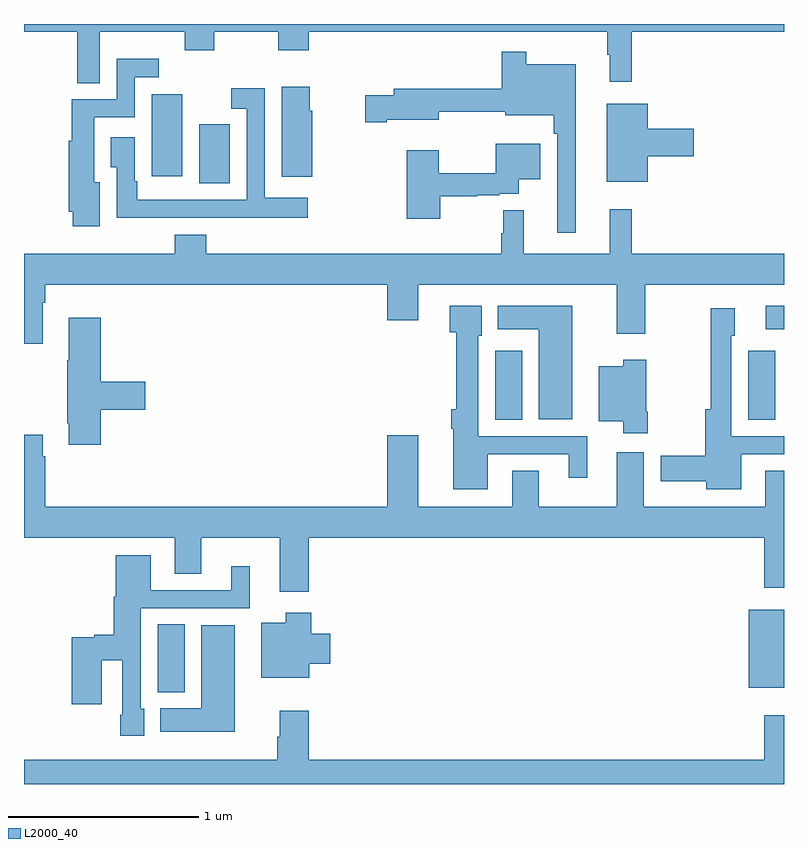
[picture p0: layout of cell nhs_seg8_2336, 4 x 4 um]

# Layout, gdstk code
import gdstk
lib = gdstk.Library(unit=1e-6, precision=1e-09)
def R(c, l, rs):  # rectangles x0, y0, x1, y1
    for r in rs: c.add(gdstk.rectangle(r[:2], r[2:], *l))
def P(c, l, *ps):  # polygons
    for p in ps: c.add(gdstk.Polygon(p, *l))
L2000_40 = (2000, 40)

nhs_seg8_2336 = lib.new_cell('nhs_seg8_2336')
R(nhs_seg8_2336, L2000_40, [(259.703,1086.383,259.846,1086.74), (262.814,1086.407,263,1086.817), (261.479,1087.816,261.622,1088.179), (262.811,1087.816,262.954,1088.179), (262.905,1088.294,263,1088.416), (259.922,1089.061,260.083,1089.372), (259.673,1089.098,259.834,1089.529)])
P(nhs_seg8_2336, L2000_40, [(259.399,1089.86),(259.846,1089.86),(259.846,1089.761),(260.001,1089.761),(260.001,1089.86),(260.338,1089.86),(260.338,1089.761),(260.498,1089.761),(260.498,1089.86),(262.071,1089.86),(262.071,1089.737),(262.082,1089.737),(262.082,1089.597),(262.199,1089.597),(262.199,1089.86),(263,1089.86),(263,1089.9),(259,1089.9),(259,1089.86),(259.281,1089.86),(259.281,1089.589),(259.399,1089.589)],
  [(261.904,1089.688),(261.643,1089.688),(261.643,1089.754),(261.514,1089.754),(261.514,1089.559),(260.945,1089.559),(260.945,1089.525),(260.796,1089.525),(260.796,1089.383),(260.908,1089.383),(260.908,1089.395),(261.184,1089.395),(261.184,1089.438),(261.533,1089.438),(261.533,1089.419),(261.787,1089.419),(261.787,1089.323),(261.807,1089.323),(261.807,1088.802),(261.904,1088.802)],
  [(259.399,1089.067),(259.369,1089.067),(259.369,1089.408),(259.584,1089.408),(259.584,1089.621),(259.708,1089.621),(259.708,1089.718),(259.488,1089.718),(259.488,1089.504),(259.251,1089.504),(259.251,1089.285),(259.235,1089.285),(259.235,1088.913),(259.256,1088.913),(259.256,1088.835),(259.399,1088.835)],
  [(260.518,1089.444),(260.503,1089.444),(260.503,1089.571),(260.357,1089.571),(260.357,1089.096),(260.518,1089.096)],
  [(259.709,1088.88),(260.075,1088.88),(260.075,1088.879),(260.494,1088.879),(260.494,1088.986),(260.268,1088.986),(260.268,1089.562),(260.091,1089.562),(260.091,1089.453),(260.172,1089.453),(260.172,1088.976),(259.596,1088.976),(259.596,1089.073),(259.584,1089.073),(259.584,1089.304),(259.457,1089.304),(259.457,1089.145),(259.488,1089.145),(259.488,1088.879),(259.709,1088.879)],
  [(262.282,1089.203),(262.525,1089.203),(262.525,1089.35),(262.282,1089.35),(262.282,1089.481),(262.067,1089.481),(262.067,1089.071),(262.282,1089.071)],
  [(261.192,1088.994),(261.386,1088.994),(261.386,1088.999),(261.5,1088.999),(261.5,1089.006),(261.604,1089.006),(261.604,1089.083),(261.718,1089.083),(261.718,1089.271),(261.482,1089.271),(261.482,1089.115),(261.184,1089.115),(261.184,1089.235),(261.014,1089.235),(261.014,1088.874),(261.192,1088.874)],
  [(260.912,1088.34),(261.076,1088.34),(261.076,1088.528),(262.121,1088.528),(262.121,1088.271),(262.269,1088.271),(262.269,1088.528),(263,1088.528),(263,1088.692),(262.199,1088.692),(262.199,1088.926),(262.082,1088.926),(262.082,1088.692),(261.629,1088.692),(261.629,1088.921),(261.523,1088.921),(261.523,1088.799),(261.511,1088.799),(261.511,1088.692),(259.958,1088.692),(259.958,1088.791),(259.793,1088.791),(259.793,1088.692),(259,1088.692),(259,1088.217),(259.099,1088.217),(259.099,1088.432),(259.112,1088.432),(259.112,1088.528),(260.912,1088.528)],
  [(261.886,1088.416),(261.494,1088.416),(261.494,1088.294),(261.71,1088.294),(261.71,1087.82),(261.886,1087.82)],
  [(261.442,1087.635),(261.866,1087.635),(261.866,1087.512),(261.964,1087.512),(261.964,1087.731),(261.39,1087.731),(261.39,1088.259),(261.409,1088.259),(261.409,1088.416),(261.24,1088.416),(261.24,1088.278),(261.274,1088.278),(261.274,1087.873),(261.248,1087.873),(261.248,1087.769),(261.26,1087.769),(261.26,1087.451),(261.442,1087.451)],
  [(262.774,1087.635),(263,1087.635),(263,1087.731),(262.722,1087.731),(262.722,1088.259),(262.741,1088.259),(262.741,1088.404),(262.614,1088.404),(262.614,1087.873),(262.585,1087.873),(262.585,1087.628),(262.35,1087.628),(262.35,1087.493),(262.592,1087.493),(262.592,1087.451),(262.774,1087.451)],
  [(259.403,1087.871),(259.639,1087.871),(259.639,1088.018),(259.403,1088.018),(259.403,1088.353),(259.235,1088.353),(259.235,1088.129),(259.228,1088.129),(259.228,1087.798),(259.235,1087.798),(259.235,1087.686),(259.403,1087.686)],
  [(262.284,1087.858),(262.276,1087.858),(262.276,1088.134),(262.154,1088.134),(262.154,1088.098),(262.025,1088.098),(262.025,1087.808),(262.154,1087.808),(262.154,1087.746),(262.284,1087.746)],
  [(260.498,1087.196),(262.897,1087.196),(262.897,1086.933),(263,1086.933),(263,1087.55),(262.901,1087.55),(262.901,1087.36),(262.261,1087.36),(262.261,1087.645),(262.121,1087.645),(262.121,1087.36),(261.709,1087.36),(261.709,1087.55),(261.569,1087.55),(261.569,1087.36),(261.076,1087.36),(261.076,1087.735),(260.912,1087.735),(260.912,1087.36),(259.112,1087.36),(259.112,1087.625),(259.099,1087.625),(259.099,1087.738),(259,1087.738),(259,1087.196),(259.793,1087.196),(259.793,1087.006),(259.933,1087.006),(259.933,1087.196),(260.345,1087.196),(260.345,1086.912),(260.498,1086.912)],
  [(259.633,1086.297),(259.614,1086.297),(259.614,1086.825),(260.188,1086.825),(260.188,1087.045),(260.09,1087.045),(260.09,1086.921),(259.666,1086.921),(259.666,1087.105),(259.484,1087.105),(259.484,1086.885),(259.472,1086.885),(259.472,1086.686),(259.371,1086.686),(259.371,1086.673),(259.25,1086.673),(259.25,1086.321),(259.408,1086.321),(259.408,1086.551),(259.518,1086.551),(259.518,1086.265),(259.506,1086.265),(259.506,1086.153),(259.633,1086.153)],
  [(260.5,1086.533),(260.611,1086.533),(260.611,1086.691),(260.513,1086.691),(260.513,1086.802),(260.378,1086.802),(260.378,1086.748),(260.249,1086.748),(260.249,1086.458),(260.5,1086.458)],
  [(260.11,1086.736),(259.934,1086.736),(259.934,1086.298),(259.718,1086.298),(259.718,1086.176),(260.11,1086.176)],
  [(263,1086.262),(262.897,1086.262),(262.897,1086.028),(260.498,1086.028),(260.498,1086.286),(260.345,1086.286),(260.345,1086.149),(260.333,1086.149),(260.333,1086.028),(259,1086.028),(259,1085.9),(263,1085.9)])

lib.write_gds('nhs_seg8_2336.gds')
